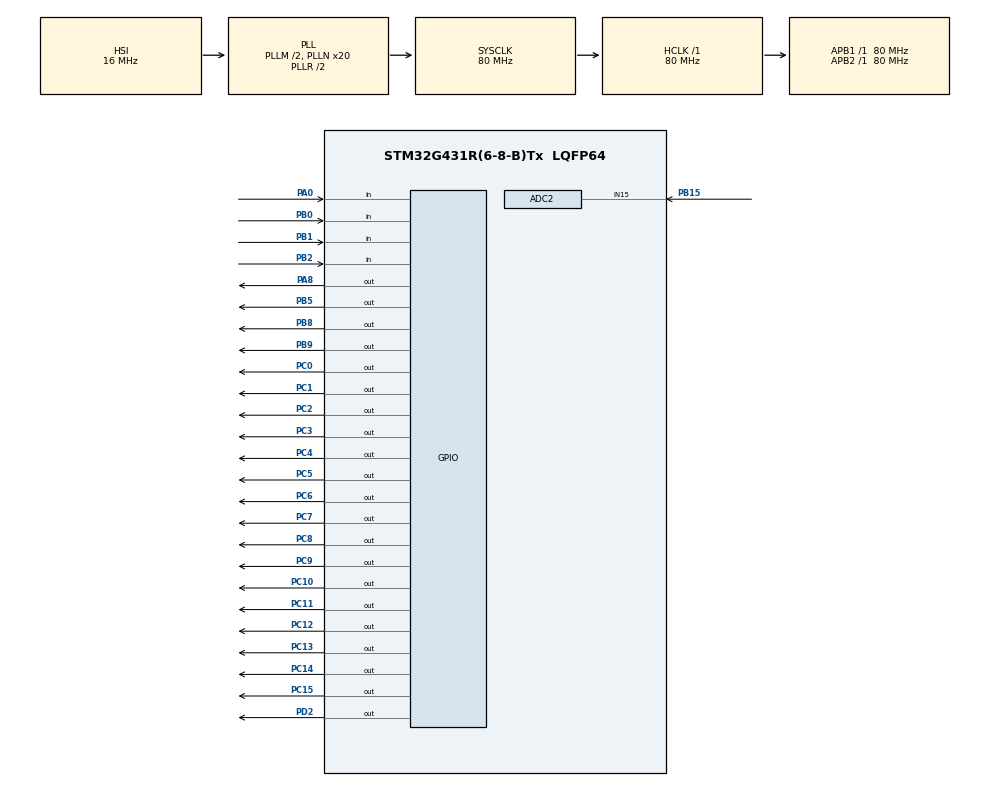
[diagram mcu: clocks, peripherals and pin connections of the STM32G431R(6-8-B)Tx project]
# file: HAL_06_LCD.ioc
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ADC2.Channel-0\#ChannelRegularConversion=ADC_CHANNEL_15
ADC2.NbrOfConversionFlag=1
ADC2.OffsetNumber-0\#ChannelRegularConversion=ADC_OFFSET_NONE
ADC2.Rank-0\#ChannelRegularConversion=1
ADC2.SamplingTime-0\#ChannelRegularConversion=ADC_SAMPLETIME_2CYCLES_5
Mcu.Family=STM32G4
Mcu.Name=STM32G431R(6-8-B)Tx
Mcu.Package=LQFP64
NVIC.PriorityGroup=NVIC_PRIORITYGROUP_4
NVIC.TIM1_UP_TIM16_IRQn=true\:0\:0\:false\:false\:true\:true\:true\:true
PA0.GPIO_PuPd=GPIO_PULLUP
PA0.Signal=GPIO_Input
PA8.Signal=GPIO_Output
PB0.GPIO_PuPd=GPIO_PULLUP
PB0.Signal=GPIO_Input
PB1.GPIO_PuPd=GPIO_PULLUP
PB1.Signal=GPIO_Input
PB15.Mode=IN15-Single-Ended
PB15.Signal=ADC2_IN15
PB2.GPIO_PuPd=GPIO_PULLUP
PB2.Signal=GPIO_Input
PB5.Signal=GPIO_Output
PB8-BOOT0.Signal=GPIO_Output
PB9.Signal=GPIO_Output
PC0.Signal=GPIO_Output
PC1.Signal=GPIO_Output
PC10.GPIO_ModeDefaultOutputPP=GPIO_MODE_OUTPUT_PP
PC10.GPIO_PuPd=GPIO_PULLUP
PC10.PinState=GPIO_PIN_SET
PC10.Signal=GPIO_Output
PC11.GPIO_ModeDefaultOutputPP=GPIO_MODE_OUTPUT_PP
PC11.GPIO_PuPd=GPIO_PULLUP
PC11.PinState=GPIO_PIN_SET
PC11.Signal=GPIO_Output
PC12.GPIO_ModeDefaultOutputPP=GPIO_MODE_OUTPUT_PP
PC12.GPIO_PuPd=GPIO_PULLUP
PC12.PinState=GPIO_PIN_SET
PC12.Signal=GPIO_Output
PC13.GPIO_ModeDefaultOutputPP=GPIO_MODE_OUTPUT_PP
PC13.GPIO_PuPd=GPIO_PULLUP
PC13.PinState=GPIO_PIN_SET
PC13.Signal=GPIO_Output
PC14-OSC32_IN.GPIO_ModeDefaultOutputPP=GPIO_MODE_OUTPUT_PP
PC14-OSC32_IN.GPIO_PuPd=GPIO_PULLUP
PC14-OSC32_IN.PinState=GPIO_PIN_SET
PC14-OSC32_IN.Signal=GPIO_Output
PC15-OSC32_OUT.GPIO_ModeDefaultOutputPP=GPIO_MODE_OUTPUT_PP
PC15-OSC32_OUT.GPIO_PuPd=GPIO_PULLUP
PC15-OSC32_OUT.PinState=GPIO_PIN_SET
PC15-OSC32_OUT.Signal=GPIO_Output
PC2.Signal=GPIO_Output
PC3.Signal=GPIO_Output
PC4.Signal=GPIO_Output
PC5.Signal=GPIO_Output
PC6.Signal=GPIO_Output
PC7.Signal=GPIO_Output
PC8.GPIO_PuPd=GPIO_PULLUP
PC8.PinState=GPIO_PIN_SET
PC8.Signal=GPIO_Output
PC9.GPIO_PuPd=GPIO_PULLUP
PC9.PinState=GPIO_PIN_SET
PC9.Signal=GPIO_Output
PD2.Signal=GPIO_Output
PF0-OSC_IN.Mode=HSE-External-Oscillator
PF0-OSC_IN.Signal=RCC_OSC_IN
PF1-OSC_OUT.Mode=HSE-External-Oscillator
PF1-OSC_OUT.Signal=RCC_OSC_OUT
ProjectManager.HeapSize=0x200
ProjectManager.StackSize=0x400
ProjectManager.TargetToolchain=MDK-ARM V5.27
RCC.ADC12Freq_Value=80000000
RCC.AHBFreq_Value=80000000
RCC.APB1Freq_Value=80000000
RCC.APB1TimFreq_Value=80000000
RCC.APB2Freq_Value=80000000
RCC.APB2TimFreq_Value=80000000
RCC.CortexFreq_Value=80000000
RCC.EXTERNAL_CLOCK_VALUE=12288000
RCC.HCLKFreq_Value=80000000
RCC.HSE_VALUE=24000000
RCC.HSI48_VALUE=48000000
RCC.HSI_VALUE=16000000
RCC.LSE_VALUE=32768
RCC.PLLM=RCC_PLLM_DIV2
RCC.PLLN=20
RCC.SYSCLKFreq_VALUE=80000000
RCC.SYSCLKSource=RCC_SYSCLKSOURCE_PLLCLK
RCC.USBFreq_Value=80000000
RCC.VCOOutputFreq_Value=160000000
TIM16.PeriodNoDither=1000-1
TIM16.Prescaler=800-1
VP_SYS_VS_DBSignals.Mode=DisableDeadBatterySignals
VP_TIM16_VS_ClockSourceINT.Mode=Enable_Timer
board=custom

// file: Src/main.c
/* USER CODE BEGIN Header */
/**
  ******************************************************************************
  * @file           : main.c
  * @brief          : Main program body
  ******************************************************************************
  * @attention
  *
  * <h2><center>&copy; Copyright (c) 2021 STMicroelectronics.
  * All rights reserved.</center></h2>
  *
  * This software component is licensed by ST under BSD 3-Clause license,
  * the "License"; You may not use this file except in compliance with the
  * License. You may obtain a copy of the License at:
  *                        opensource.org/licenses/BSD-3-Clause
  *
  ******************************************************************************
  */
/* USER CODE END Header */
#include "main.h"
#include "adc.h"
#include "tim.h"
#include "gpio.h"

/* USER CODE BEGIN Includes */
#include "lcd.h"
#include "led.h"
#include "interrupt.h"
#include "stdio.h"
#include "adc_operate.h"
/* USER CODE END Includes */

/* USER CODE BEGIN PM */
extern struct keys Key[];
extern uchar Upper_led,Lower_led;
extern bool upper_led_on,lower_led_on;
extern uchar disp;
extern bool Clear;
/* USER CODE END PM */

/* USER CODE BEGIN PV */
uchar view=0;

float Volt=3.22;
int Max_Volt=24,Min_Volt=12;
uchar Choose=0;
/* USER CODE END PV */

void SystemClock_Config(void);
/* USER CODE BEGIN PFP */
void key_proc(void);
void lcd_proc(void);
void led_proc(void);
/* USER CODE END PFP */

int main(void)
{

  /* MCU Configuration--------------------------------------------------------*/

  /* Reset of all peripherals, Initializes the Flash interface and the Systick. */
  HAL_Init();

  /* Configure the system clock */
  SystemClock_Config();

  /* Initialize all configured peripherals */
  MX_GPIO_Init();
  MX_TIM16_Init();
  MX_ADC2_Init();
  /* USER CODE BEGIN 2 */

  LCD_Init();
	HAL_TIM_Base_Start_IT(&htim16);
  /* USER CODE END 2 */

  /* Infinite loop */
  /* USER CODE BEGIN WHILE */

  LCD_Clear(White);
  LCD_SetBackColor(White);
  LCD_SetTextColor(Blue);
	LED_Disp(0x00);
  while (1)
  {
		Volt = Get_ADC_Value(&hadc2);
		key_proc();
		lcd_proc();
		led_proc();
    /* USER CODE END WHILE */

  }
}

void SystemClock_Config(void)
{
  RCC_OscInitTypeDef RCC_OscInitStruct = {0};
  RCC_ClkInitTypeDef RCC_ClkInitStruct = {0};

  /** Configure the main internal regulator output voltage
  */
  HAL_PWREx_ControlVoltageScaling(PWR_REGULATOR_VOLTAGE_SCALE1);

  /** Initializes the RCC Oscillators according to the specified parameters
  * in the RCC_OscInitTypeDef structure.
  */
  RCC_OscInitStruct.OscillatorType = RCC_OSCILLATORTYPE_HSI;
  RCC_OscInitStruct.HSIState = RCC_HSI_ON;
  RCC_OscInitStruct.HSICalibrationValue = RCC_HSICALIBRATION_DEFAULT;
  RCC_OscInitStruct.PLL.PLLState = RCC_PLL_ON;
  RCC_OscInitStruct.PLL.PLLSource = RCC_PLLSOURCE_HSI;
  RCC_OscInitStruct.PLL.PLLM = RCC_PLLM_DIV2;
  RCC_OscInitStruct.PLL.PLLN = 20;
  RCC_OscInitStruct.PLL.PLLP = RCC_PLLP_DIV2;
  RCC_OscInitStruct.PLL.PLLQ = RCC_PLLQ_DIV2;
  RCC_OscInitStruct.PLL.PLLR = RCC_PLLR_DIV2;
  if (HAL_RCC_OscConfig(&RCC_OscInitStruct) != HAL_OK)
  {
    Error_Handler();
  }

  /** Initializes the CPU, AHB and APB buses clocks
  */
  RCC_ClkInitStruct.ClockType = RCC_CLOCKTYPE_HCLK|RCC_CLOCKTYPE_SYSCLK
                              |RCC_CLOCKTYPE_PCLK1|RCC_CLOCKTYPE_PCLK2;
  RCC_ClkInitStruct.SYSCLKSource = RCC_SYSCLKSOURCE_PLLCLK;
  RCC_ClkInitStruct.AHBCLKDivider = RCC_SYSCLK_DIV1;
  RCC_ClkInitStruct.APB1CLKDivider = RCC_HCLK_DIV1;
  RCC_ClkInitStruct.APB2CLKDivider = RCC_HCLK_DIV1;

  if (HAL_RCC_ClockConfig(&RCC_ClkInitStruct, FLASH_LATENCY_2) != HAL_OK)
  {
    Error_Handler();
  }
}

/* USER CODE BEGIN 4 */
void key_proc()
{
	if(Key[0].single_flag)
	{
		view+=1;
		if(view==2) view=0;
		LCD_Clear(White);
		Key[0].single_flag=0;
	}
	if(Key[1].single_flag)
	{
		if(view==1) Choose++;
		if(Choose==4) Choose=0;
		Key[1].single_flag=0;
	}
	if(Key[2].single_flag)
	{
		if(Choose==0)
		{
			if(Max_Volt<=30) Max_Volt+=3;
		}
		if(Choose==1)
		{
			if(Min_Volt<=30) Min_Volt+=3;
			if(Min_Volt==Max_Volt) Min_Volt-=3;
		}
		if(Choose==2)
		{
			uchar temp=Upper_led;
			if(Upper_led<8) Upper_led+=1;
			if(Upper_led==Lower_led) Upper_led+=1;
			if(Upper_led==9) Upper_led=7;
			if(temp!=Upper_led) Clear=1;
		}
		if(Choose==3)
		{
			uchar temp=Lower_led;
			if(Lower_led<8) Lower_led+=1;
			if(Upper_led==Lower_led) Lower_led+=1;
			if(Lower_led==9) Lower_led=7;
			if(temp!=Lower_led) Clear=1;
		}
		Key[2].single_flag=0;
	}
	if(Key[3].single_flag)
	{
		if(Choose==0)
		{
			if(Max_Volt>0) Max_Volt-=3;
			if(Min_Volt>=Max_Volt) Max_Volt+=3;
		}
		if(Choose==1)
		{
			if(Min_Volt>0) Min_Volt-=3;
		}
		if(Choose==2)
		{
			uchar temp=Upper_led;
			if(Upper_led>1) Upper_led-=1;
			if(Upper_led==Lower_led) Upper_led-=1;
			if(Upper_led==0) Upper_led=2;
			if(temp!=Upper_led) Clear=1;

		}
		if(Choose==3)
		{
			uchar temp=Lower_led;
			if(Lower_led>1) Lower_led-=1;
			if(Upper_led==Lower_led) Lower_led-=1;
			if(Lower_led==0) Lower_led=2;
			if(temp!=Lower_led) Clear=1;
		}
		Key[3].single_flag=0;
	}
}
void lcd_proc()
{
	char text[30];
	if(view==0)
	{
		sprintf(text,"        Main    ");
		LCD_DisplayStringLine(Line1, (unsigned char *)text);
		sprintf(text,"    Volt:%.2fV         ",Volt);
		LCD_DisplayStringLine(Line3, (unsigned char *)text);
		if(Volt*10>Max_Volt)
		{
			sprintf(text,"    Status:Upper       ");
			LCD_DisplayStringLine(Line5, (unsigned char *)text);
		}
		else if(Volt*10<Min_Volt)
		{
			sprintf(text,"    Status:Lower       ");
			LCD_DisplayStringLine(Line5, (unsigned char *)text);
		}
		else
		{
			sprintf(text,"    Status:Normal       ");
			LCD_DisplayStringLine(Line5, (unsigned char *)text);
		}
		sprintf(text,"    disp:%d        ",disp);
		LCD_DisplayStringLine(Line7, (unsigned char *)text);
	}
	else
	{
		sprintf(text,"       Setting    ");
		LCD_DisplayStringLine(Line1, (unsigned char *)text);
		if(Choose==0) LCD_SetBackColor(Green);
		sprintf(text,"    Max Volt:%.1fV     ",(double)Max_Volt/10);
		LCD_DisplayStringLine(Line2, (unsigned char *)text);
		if(Choose==0) LCD_SetBackColor(White);
		if(Choose==1) LCD_SetBackColor(Green);
		sprintf(text,"    Min Volt:%.1fV    ",(double)Min_Volt/10);
		LCD_DisplayStringLine(Line4, (unsigned char *)text);
		if(Choose==1) LCD_SetBackColor(White);
		if(Choose==2) LCD_SetBackColor(Green);
		sprintf(text,"    Upper:LD%d        ",Upper_led);
		LCD_DisplayStringLine(Line6, (unsigned char *)text);
		if(Choose==2) LCD_SetBackColor(White);
		if(Choose==3) LCD_SetBackColor(Green);
		sprintf(text,"    Lower:LD%d        ",Lower_led);
		LCD_DisplayStringLine(Line8, (unsigned char *)text);
		if(Choose==3) LCD_SetBackColor(White);
	}
}

void led_proc(void)
{
	if(Volt*10>Max_Volt)
	{
		upper_led_on=1;
	}
	else upper_led_on=0;
	if(Volt*10<Min_Volt)
	{
		lower_led_on=1;
	}
	else lower_led_on=0;
}
/* USER CODE END 4 */

void Error_Handler(void)
{
}
